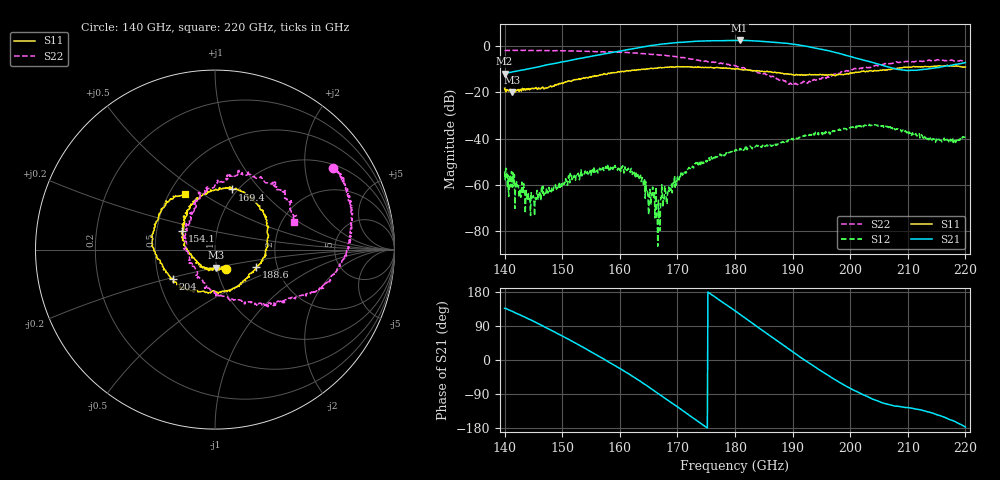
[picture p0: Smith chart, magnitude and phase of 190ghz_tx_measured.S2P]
!  2-Port S-parameters saved by WinCal
! VAR MeasName=S-Parameters (CALIBRATED_DATA) read from VNA (ZVA67-4Port)
! VAR MeasDate=6/13/2018 12:01:58 PM
! VAR NAME=tx_220GHz_Vadj_refl_1V1
! VAR FILENAME=tx_220GHz_Vadj_refl_1V1.S2P
! VAR DATE=6/13/2018 12:01:58 PM
! VAR PHYS_PORTS=1,2
# Hz S MA R 50
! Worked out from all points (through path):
!   801 points, 140 GHz to 220 GHz, reference 50 ohm
!   highest |S21| = 2.49 dB at 180.8 GHz (marker M1); lowest = -11.8 dB at 140 GHz (marker M2)
!   group delay of S21, straight-line fit = 25.6 ps
!   lowest |S11| = -19.9 dB at 141.3 GHz (marker M3), VSWR 1.22, Z = 49.8 - j10.1 ohm
!   |S11| at or under -10 dB: start of sweep to 164 GHz; 164.3144 GHz to 164.4836 GHz (169.2 MHz wide, 0.103 % of centre); 180.8 GHz to 207.1 GHz (26.28 GHz wide, 13.6 % of centre)
!   |S22| runs from -16.6 to -1.7 dB; largest |S21 - S12| = 1.3
!   S11 on the Smith chart (normalised r, x): 140 GHz: 1.10, -0.24; 154.1 GHz: 0.68, +0.15; 169.4 GHz: 0.94, +0.72; 188.6 GHz: 1.56, -0.33; 204 GHz: 0.59, -0.21; 220 GHz: 0.60, +0.42
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1.4e11  0.1225 -60.5  0.256 136.3  0.001943 -32.4  0.7988 34.5
1.413e11  0.1007 -85.6  0.2773 128.7  0.001665 -51.0  0.8119 32.4
1.448e11  0.1217 -125.5  0.3362 103.8  0.0005258 -128.7  0.8095 27.0
1.534e11  0.2006 155.3  0.5543 35.4  0.001547 102.7  0.7824 12.0
1.541e11  0.2093 150.6  0.5754 29.5  0.001673 83.8  0.7706 10.9
1.617e11  0.2977 112.4  0.8568 -37.9  0.00208 -53.6  0.7253 -3.7
1.65e11  0.3241 95.6  1.011 -70.8  0.0002227 28.1  0.6789 -11.8
1.659e11  0.3313 91.1  1.051 -80.5  0.000494 78.9  0.6666 -14.8
1.667e11  0.3432 86.0  1.088 -88.9  0.0004627 31.4  0.6493 -16.7
1.675e11  0.3458 82.7  1.118 -97.5  0.0003264 -136.3  0.6382 -19.7
1.694e11  0.3484 74.3  1.179 -117.3  0.001009 7.2  0.5995 -23.3
1.749e11  0.3497 48.3  1.302 -176.3  0.002967 -40.1  0.4825 -37.8
1.8e11  0.3178 24.5  1.331 130.0  0.005608 -86.5  0.3772 -53.5
1.808e11  0.3157 21.9  1.332 121.0  0.005802 -88.4  0.3473 -56.6
1.843e11  0.2883 2.1  1.281 83.0  0.006646 -114.8  0.2621 -80.6
1.886e11  0.2504 -23.1  1.164 37.3  0.008492 -119.9  0.176 -126.6
1.934e11  0.2422 -59.8  0.936 -13.7  0.01321 -142.9  0.1863 160.1
1.98e11  0.2431 -98.5  0.7057 -57.9  0.01504 -166.2  0.2574 117.4
2.04e11  0.2879 -145.3  0.4406 -103.5  0.01965 158.1  0.3685 88.7
2.067e11  0.3149 -166.0  0.3511 -117.5  0.01773 136.7  0.4172 78.6
2.158e11  0.3693 140.7  0.3583 -147.8  0.009128 126.5  0.5002 39.6
2.2e11  0.3519 118.5  0.4423 -176.9  0.01061 143.6  0.4647 19.3
